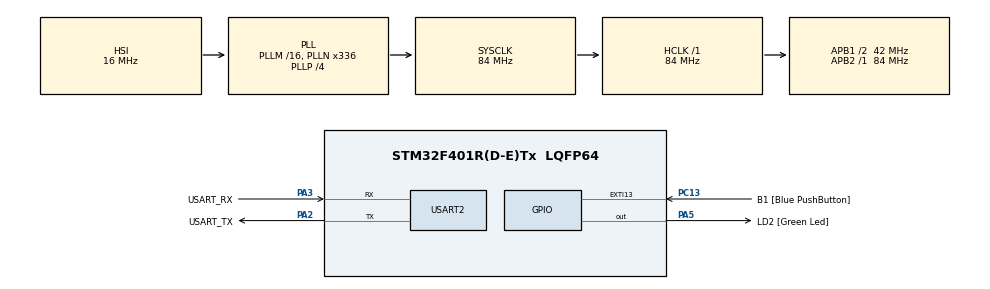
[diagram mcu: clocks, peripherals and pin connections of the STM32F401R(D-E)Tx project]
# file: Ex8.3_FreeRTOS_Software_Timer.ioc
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FREERTOS.Tasks01=defaultTask,0,128,StartDefaultTask,Default,NULL,Dynamic,NULL,NULL;myTask02,0,128,StartTask02,Default,NULL,Dynamic,NULL,NULL
FREERTOS.Timers01=myTimer01,Callback01,osTimerPeriodic,Default,NULL,Dynamic,NULL;myTimer02,Callback02,osTimerOnce,Default,NULL,Dynamic,NULL
FREERTOS.configTIMER_TASK_PRIORITY=6
FREERTOS.configUSE_TIMERS=1
Mcu.Family=STM32F4
Mcu.Name=STM32F401R(D-E)Tx
Mcu.Package=LQFP64
NVIC.PriorityGroup=NVIC_PRIORITYGROUP_4
PA13.GPIO_Label=TMS
PA13.Mode=Trace_Asynchronous_SW
PA13.Signal=SYS_JTMS-SWDIO
PA14.GPIO_Label=TCK
PA14.Mode=Trace_Asynchronous_SW
PA14.Signal=SYS_JTCK-SWCLK
PA2.GPIO_Label=USART_TX
PA2.GPIO_Mode=GPIO_MODE_AF_PP
PA2.GPIO_PuPd=GPIO_NOPULL
PA2.GPIO_Speed=GPIO_SPEED_FREQ_LOW
PA2.Mode=Asynchronous
PA2.Signal=USART2_TX
PA3.GPIO_Label=USART_RX
PA3.GPIO_Mode=GPIO_MODE_AF_PP
PA3.GPIO_PuPd=GPIO_NOPULL
PA3.GPIO_Speed=GPIO_SPEED_FREQ_LOW
PA3.Mode=Asynchronous
PA3.Signal=USART2_RX
PA5.GPIO_Label=LD2 [Green Led]
PA5.GPIO_Mode=GPIO_MODE_OUTPUT_PP
PA5.GPIO_PuPd=GPIO_NOPULL
PA5.GPIO_Speed=GPIO_SPEED_FREQ_LOW
PA5.Signal=GPIO_Output
PB3.GPIO_Label=SWO
PB3.Mode=Trace_Asynchronous_SW
PB3.Signal=SYS_JTDO-SWO
PC13-ANTI_TAMP.GPIO_Label=B1 [Blue PushButton]
PC13-ANTI_TAMP.GPIO_ModeDefaultEXTI=GPIO_MODE_IT_FALLING
PC13-ANTI_TAMP.GPIO_PuPd=GPIO_NOPULL
PC13-ANTI_TAMP.Signal=GPXTI13
PC14-OSC32_IN.Mode=LSE-External-Oscillator
PC14-OSC32_IN.Signal=RCC_OSC32_IN
PC15-OSC32_OUT.Mode=LSE-External-Oscillator
PC15-OSC32_OUT.Signal=RCC_OSC32_OUT
PH0\ -\ OSC_IN.Mode=HSE-External-Clock-Source
PH0\ -\ OSC_IN.Signal=RCC_OSC_IN
PH1\ -\ OSC_OUT.Mode=HSE-External-Clock-Source
PH1\ -\ OSC_OUT.Signal=RCC_OSC_OUT
ProjectManager.HeapSize=0x200
ProjectManager.StackSize=0x400
ProjectManager.TargetToolchain=STM32CubeIDE
RCC.48MHZClocksFreq_Value=48000000
RCC.AHBFreq_Value=84000000
RCC.APB1CLKDivider=RCC_HCLK_DIV2
RCC.APB1Freq_Value=42000000
RCC.APB1TimFreq_Value=84000000
RCC.APB2Freq_Value=84000000
RCC.APB2TimFreq_Value=84000000
RCC.CortexFreq_Value=84000000
RCC.HCLKFreq_Value=84000000
RCC.HSE_VALUE=8000000
RCC.HSI_VALUE=16000000
RCC.PLLN=336
RCC.PLLP=RCC_PLLP_DIV4
RCC.PLLQ=7
RCC.SYSCLKFreq_VALUE=84000000
RCC.SYSCLKSource=RCC_SYSCLKSOURCE_PLLCLK
RCC.VCOOutputFreq_Value=336000000
USART2.VirtualMode=VM_ASYNC
VP_FREERTOS_VS_CMSIS_V1.Mode=CMSIS_V1
board=NUCLEO-F401RE

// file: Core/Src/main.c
/* USER CODE BEGIN Header */
/**
  ******************************************************************************
  * @file           : main.c
  * @brief          : Main program body
  ******************************************************************************
  * @attention
  *
  * Copyright (c) 2026 STMicroelectronics.
  * All rights reserved.
  *
  * This software is licensed under terms that can be found in the LICENSE file
  * in the root directory of this software component.
  * If no LICENSE file comes with this software, it is provided AS-IS.
  *
  ******************************************************************************
  */
/* USER CODE END Header */
#include "main.h"
#include "cmsis_os.h"

/* USER CODE BEGIN Includes */
#include <stdio.h>
/* USER CODE END Includes */

UART_HandleTypeDef huart2;

osThreadId defaultTaskHandle;
osThreadId myTask02Handle;
osTimerId myTimer01Handle;
osTimerId myTimer02Handle;

void SystemClock_Config(void);
static void MX_GPIO_Init(void);
static void MX_USART2_UART_Init(void);
void StartDefaultTask(void const * argument);
void StartTask02(void const * argument);
void Callback01(void const * argument);
void Callback02(void const * argument);

/* USER CODE BEGIN 0 */
int __io_putchar(int ch){
	HAL_UART_Transmit(&huart2, (uint8_t *)&ch, 1, 0xFFFF);
	return ch;
}
/* USER CODE END 0 */

int main(void)
{

  /* MCU Configuration--------------------------------------------------------*/

  /* Reset of all peripherals, Initializes the Flash interface and the Systick. */
  HAL_Init();

  /* Configure the system clock */
  SystemClock_Config();

  /* Initialize all configured peripherals */
  MX_GPIO_Init();
  MX_USART2_UART_Init();

  /* Create the timer(s) */
  /* definition and creation of myTimer01 */
  osTimerDef(myTimer01, Callback01);
  myTimer01Handle = osTimerCreate(osTimer(myTimer01), osTimerPeriodic, NULL);

  /* definition and creation of myTimer02 */
  osTimerDef(myTimer02, Callback02);
  myTimer02Handle = osTimerCreate(osTimer(myTimer02), osTimerOnce, NULL);

  /* Create the thread(s) */
  /* definition and creation of defaultTask */
  osThreadDef(defaultTask, StartDefaultTask, osPriorityNormal, 0, 128);
  defaultTaskHandle = osThreadCreate(osThread(defaultTask), NULL);

  /* definition and creation of myTask02 */
  osThreadDef(myTask02, StartTask02, osPriorityNormal, 0, 128);
  myTask02Handle = osThreadCreate(osThread(myTask02), NULL);

  /* Start scheduler */
  osKernelStart();

  /* We should never get here as control is now taken by the scheduler */

  /* Infinite loop */
  while (1)
  {

  }
}

void SystemClock_Config(void)
{
  RCC_OscInitTypeDef RCC_OscInitStruct = {0};
  RCC_ClkInitTypeDef RCC_ClkInitStruct = {0};

  /** Configure the main internal regulator output voltage
  */
  __HAL_RCC_PWR_CLK_ENABLE();
  __HAL_PWR_VOLTAGESCALING_CONFIG(PWR_REGULATOR_VOLTAGE_SCALE2);

  /** Initializes the RCC Oscillators according to the specified parameters
  * in the RCC_OscInitTypeDef structure.
  */
  RCC_OscInitStruct.OscillatorType = RCC_OSCILLATORTYPE_HSI;
  RCC_OscInitStruct.HSIState = RCC_HSI_ON;
  RCC_OscInitStruct.HSICalibrationValue = RCC_HSICALIBRATION_DEFAULT;
  RCC_OscInitStruct.PLL.PLLState = RCC_PLL_ON;
  RCC_OscInitStruct.PLL.PLLSource = RCC_PLLSOURCE_HSI;
  RCC_OscInitStruct.PLL.PLLM = 16;
  RCC_OscInitStruct.PLL.PLLN = 336;
  RCC_OscInitStruct.PLL.PLLP = RCC_PLLP_DIV4;
  RCC_OscInitStruct.PLL.PLLQ = 7;
  if (HAL_RCC_OscConfig(&RCC_OscInitStruct) != HAL_OK)
  {
    Error_Handler();
  }

  /** Initializes the CPU, AHB and APB buses clocks
  */
  RCC_ClkInitStruct.ClockType = RCC_CLOCKTYPE_HCLK|RCC_CLOCKTYPE_SYSCLK
                              |RCC_CLOCKTYPE_PCLK1|RCC_CLOCKTYPE_PCLK2;
  RCC_ClkInitStruct.SYSCLKSource = RCC_SYSCLKSOURCE_PLLCLK;
  RCC_ClkInitStruct.AHBCLKDivider = RCC_SYSCLK_DIV1;
  RCC_ClkInitStruct.APB1CLKDivider = RCC_HCLK_DIV2;
  RCC_ClkInitStruct.APB2CLKDivider = RCC_HCLK_DIV1;

  if (HAL_RCC_ClockConfig(&RCC_ClkInitStruct, FLASH_LATENCY_2) != HAL_OK)
  {
    Error_Handler();
  }
}

static void MX_USART2_UART_Init(void)
{

  huart2.Instance = USART2;
  huart2.Init.BaudRate = 115200;
  huart2.Init.WordLength = UART_WORDLENGTH_8B;
  huart2.Init.StopBits = UART_STOPBITS_1;
  huart2.Init.Parity = UART_PARITY_NONE;
  huart2.Init.Mode = UART_MODE_TX_RX;
  huart2.Init.HwFlowCtl = UART_HWCONTROL_NONE;
  huart2.Init.OverSampling = UART_OVERSAMPLING_16;
  if (HAL_UART_Init(&huart2) != HAL_OK)
  {
    Error_Handler();
  }

}

static void MX_GPIO_Init(void)
{
  GPIO_InitTypeDef GPIO_InitStruct = {0};

  /* GPIO Ports Clock Enable */
  __HAL_RCC_GPIOC_CLK_ENABLE();
  __HAL_RCC_GPIOH_CLK_ENABLE();
  __HAL_RCC_GPIOA_CLK_ENABLE();
  __HAL_RCC_GPIOB_CLK_ENABLE();

  /*Configure GPIO pin Output Level */
  HAL_GPIO_WritePin(LD2_GPIO_Port, LD2_Pin, GPIO_PIN_RESET);

  /*Configure GPIO pin : B1_Pin */
  GPIO_InitStruct.Pin = B1_Pin;
  GPIO_InitStruct.Mode = GPIO_MODE_IT_FALLING;
  GPIO_InitStruct.Pull = GPIO_NOPULL;
  HAL_GPIO_Init(B1_GPIO_Port, &GPIO_InitStruct);

  /*Configure GPIO pin : LD2_Pin */
  GPIO_InitStruct.Pin = LD2_Pin;
  GPIO_InitStruct.Mode = GPIO_MODE_OUTPUT_PP;
  GPIO_InitStruct.Pull = GPIO_NOPULL;
  GPIO_InitStruct.Speed = GPIO_SPEED_FREQ_LOW;
  HAL_GPIO_Init(LD2_GPIO_Port, &GPIO_InitStruct);

}

void StartDefaultTask(void const * argument)
{
  /* USER CODE BEGIN 5 */
	osTimerStart(myTimer01Handle, 1000);
  /* Infinite loop */
  for(;;)
  {
	printf("Sending from StartDefaultTask\r\n");
    osDelay(2000);
  }
  /* USER CODE END 5 */
}

void StartTask02(void const * argument)
{
  /* USER CODE BEGIN StartTask02 */
  /* Infinite loop */
  for(;;)
  {
	if(HAL_GPIO_ReadPin(GPIOC, GPIO_PIN_13)){
	   HAL_GPIO_WritePin(GPIOA, GPIO_PIN_6, 1);
	   printf("Sending from StartTask02\r\n");
	   osTimerStart(myTimer02Handle, 1000);
	}
    osDelay(200);
  }
  /* USER CODE END StartTask02 */
}

/* Callback01 function */
void Callback01(void const * argument)
{
  /* USER CODE BEGIN Callback01 */
	HAL_GPIO_TogglePin(GPIOA, GPIO_PIN_7);
	printf("Sending from Callback01\r\n");

  /* USER CODE END Callback01 */
}

/* Callback02 function */
void Callback02(void const * argument)
{
  /* USER CODE BEGIN Callback02 */
	HAL_GPIO_WritePin(GPIOA, GPIO_PIN_6, 0);
	printf("Sending from Callback02\r\n");
  /* USER CODE END Callback02 */
}

void Error_Handler(void)
{
  __disable_irq();
  while (1)
  {
  }
}
